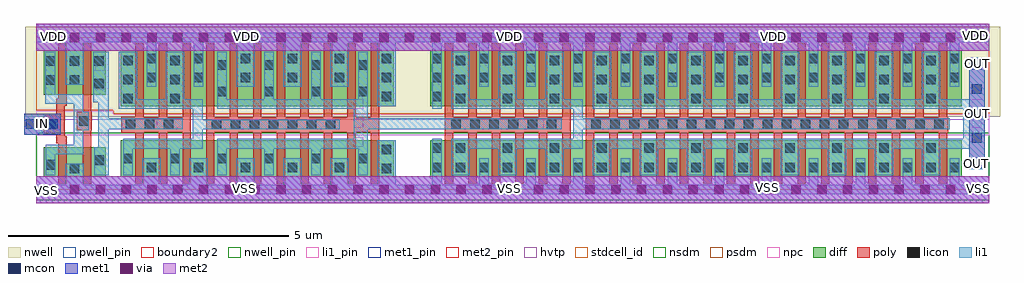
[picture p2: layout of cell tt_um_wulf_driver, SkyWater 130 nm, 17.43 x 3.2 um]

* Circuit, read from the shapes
.subckt tt_um_wulf_driver IN OUT VDD VNB VPB VSS
XM1 VSS IN n1 VNB sky130_fd_pr__nfet_01v8 w=0.52 l=0.15
XM2 sky130_fd_sc_hd__buf_8_0/A n1 VSS VNB sky130_fd_pr__nfet_01v8 w=0.52 l=0.15
XM3 VSS sky130_fd_sc_hd__buf_8_0/A n2 VNB sky130_fd_pr__nfet_01v8 w=0.65 l=0.15 m=3
XM4 sky130_fd_sc_hd__buf_16_2/A n2 VSS VNB sky130_fd_pr__nfet_01v8 w=0.65 l=0.15 m=8
XM5 n3 sky130_fd_sc_hd__buf_16_2/A VSS VNB sky130_fd_pr__nfet_01v8 w=0.65 l=0.15 m=6
XM6 OUT n3 VSS VNB sky130_fd_pr__nfet_01v8 w=0.65 l=0.15 m=16
XM7 VDD IN n1 VPB sky130_fd_pr__pfet_01v8_hvt w=0.79 l=0.15
XM8 sky130_fd_sc_hd__buf_8_0/A n1 VDD VPB sky130_fd_pr__pfet_01v8_hvt w=0.79 l=0.15
XM9 VDD sky130_fd_sc_hd__buf_8_0/A n2 VPB sky130_fd_pr__pfet_01v8_hvt w=1 l=0.15 m=3
XM10 sky130_fd_sc_hd__buf_16_2/A n2 VDD VPB sky130_fd_pr__pfet_01v8_hvt w=1 l=0.15 m=8
XM11 n3 sky130_fd_sc_hd__buf_16_2/A VDD VPB sky130_fd_pr__pfet_01v8_hvt w=1 l=0.15 m=6
XM12 OUT n3 VDD VPB sky130_fd_pr__pfet_01v8_hvt w=1 l=0.15 m=16
.ends

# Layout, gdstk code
import gdstk
lib = gdstk.Library(unit=1e-6, precision=1e-09)
def R(c, l, rs):  # rectangles x0, y0, x1, y1
    for r in rs: c.add(gdstk.rectangle(r[:2], r[2:], *l))
def A(c, l, x, y, w, h, nx, ny, dx, dy):  # array of equal rectangles
    R(c, l, [(x+i*dx, y+j*dy, x+i*dx+w, y+j*dy+h) for i in range(nx) for j in range(ny)])
def P(c, l, *ps):  # polygons
    for p in ps: c.add(gdstk.Polygon(p, *l))
nwell_pin = (64, 16)
nwell = (64, 20)
diff = (65, 20)
poly = (66, 20)
licon = (66, 44)
li1_pin = (67, 16)
li1 = (67, 20)
mcon = (67, 44)
met1_pin = (68, 16)
met1 = (68, 20)
via = (68, 44)
met2_pin = (69, 16)
met2 = (69, 20)
hvtp = (78, 44)
stdcell_id = (81, 4)
nsdm = (93, 44)
psdm = (94, 20)
npc = (95, 20)
pwell_pin = (122, 16)
boundary2 = (236, 0)

sky130_fd_sc_hd__buf_8 = lib.new_cell('sky130_fd_sc_hd__buf_8')
R(sky130_fd_sc_hd__buf_8, nwell_pin, [(0.15,2.635,0.32,2.805)])
R(sky130_fd_sc_hd__buf_8, nwell, [(-0.19,1.305,5.71,2.91)])
R(sky130_fd_sc_hd__buf_8, diff, [(0.135,0.235,5.005,0.885), (0.135,1.485,5.005,2.485)])
P(sky130_fd_sc_hd__buf_8, poly, [(0.395,0.105),(0.395,1.015),(0.14,1.015),(0.14,1.305),(0.395,1.305),(0.395,2.615),(0.545,2.615),(0.545,1.295),(0.815,1.295),(0.815,2.615),(0.965,2.615),(0.965,1.295),(1.235,1.295),(1.235,2.615),(1.385,2.615),(1.385,0.105),(1.235,0.105),(1.235,1.025),(0.965,1.025),(0.965,0.105),(0.815,0.105),(0.815,1.025),(0.545,1.025),(0.545,0.105)],
  [(1.655,0.105),(1.655,2.615),(1.805,2.615),(1.805,1.295),(2.075,1.295),(2.075,2.615),(2.225,2.615),(2.225,1.295),(2.495,1.295),(2.495,2.615),(2.645,2.615),(2.645,1.295),(2.915,1.295),(2.915,2.615),(3.065,2.615),(3.065,1.295),(3.335,1.295),(3.335,2.615),(3.485,2.615),(3.485,1.295),(3.755,1.295),(3.755,2.615),(3.905,2.615),(3.905,1.295),(4.175,1.295),(4.175,2.615),(4.325,2.615),(4.325,1.295),(4.595,1.295),(4.595,2.615),(4.745,2.615),(4.745,0.105),(4.595,0.105),(4.595,1.025),(4.325,1.025),(4.325,0.105),(4.175,0.105),(4.175,1.025),(3.905,1.025),(3.905,0.105),(3.755,0.105),(3.755,1.025),(3.485,1.025),(3.485,0.105),(3.335,0.105),(3.335,1.025),(3.065,1.025),(3.065,0.105),(2.915,0.105),(2.915,1.025),(2.645,1.025),(2.645,0.105),(2.495,0.105),(2.495,1.025),(2.225,1.025),(2.225,0.105),(2.075,0.105),(2.075,1.025),(1.805,1.025),(1.805,0.105)])
A(sky130_fd_sc_hd__buf_8, licon, 0.595, 0.315, 0.17, 0.17, 5, 1, 0.84, 0)
A(sky130_fd_sc_hd__buf_8, licon, 0.175, 0.475, 0.17, 0.17, 6, 1, 0.84, 0)
A(sky130_fd_sc_hd__buf_8, licon, 0.22, 1.075, 0.17, 0.17, 3, 1, 0.34, 0)
A(sky130_fd_sc_hd__buf_8, licon, 1.755, 1.075, 0.17, 0.17, 7, 1, 0.34, 0)
A(sky130_fd_sc_hd__buf_8, licon, 0.175, 1.545, 0.17, 0.17, 1, 3, 0, 0.34)
A(sky130_fd_sc_hd__buf_8, licon, 1.015, 1.545, 0.17, 0.17, 1, 3, 0, 0.34)
A(sky130_fd_sc_hd__buf_8, licon, 1.855, 1.67, 0.17, 0.17, 4, 2, 0.84, 0.475)
A(sky130_fd_sc_hd__buf_8, licon, 0.595, 1.915, 0.17, 0.17, 6, 2, 0.84, 0.34)
R(sky130_fd_sc_hd__buf_8, licon, [(4.795,0.295,4.965,0.465), (4.795,0.635,4.965,0.805), (4.795,1.575,4.965,1.745)])
A(sky130_fd_sc_hd__buf_8, li1_pin, 4.29, 0.765, 0.17, 0.17, 1, 3, 0, 0.34)
A(sky130_fd_sc_hd__buf_8, li1_pin, 0.15, 1.105, 0.17, 0.17, 3, 1, 0.46, 0)
R(sky130_fd_sc_hd__buf_8, li1_pin, [(0.15,-0.085,0.32,0.085), (0.15,2.635,0.32,2.805)])
R(sky130_fd_sc_hd__buf_8, li1, [(0.14,1.075,1.24,1.275)])
P(sky130_fd_sc_hd__buf_8, li1, [(0.175,0.255),(0.175,0.905),(1.42,0.905),(1.42,1.445),(0.095,1.445),(0.095,2.465),(0.425,2.465),(0.425,1.615),(0.935,1.615),(0.935,2.465),(1.265,2.465),(1.265,1.615),(1.595,1.615),(1.595,1.245),(4.045,1.245),(4.045,1.075),(1.595,1.075),(1.595,0.735),(1.185,0.735),(1.185,0.26),(1.015,0.26),(1.015,0.735),(0.345,0.735),(0.345,0.255)],
  [(0,-0.085),(0,0.085),(0.515,0.085),(0.515,0.565),(0.845,0.565),(0.845,0.085),(1.355,0.085),(1.355,0.565),(1.685,0.565),(1.685,0.085),(2.195,0.085),(2.195,0.565),(2.525,0.565),(2.525,0.085),(3.035,0.085),(3.035,0.565),(3.365,0.565),(3.365,0.085),(3.875,0.085),(3.875,0.565),(4.205,0.565),(4.205,0.085),(4.715,0.085),(4.715,0.885),(5.045,0.885),(5.045,0.085),(5.52,0.085),(5.52,-0.085)],
  [(4.715,1.485),(4.715,2.635),(4.205,2.635),(4.205,1.835),(3.875,1.835),(3.875,2.635),(3.365,2.635),(3.365,1.835),(3.035,1.835),(3.035,2.635),(2.525,2.635),(2.525,1.835),(2.195,1.835),(2.195,2.635),(1.605,2.635),(1.605,1.835),(1.435,1.835),(1.435,2.635),(0.765,2.635),(0.765,1.835),(0.595,1.835),(0.595,2.635),(0,2.635),(0,2.805),(5.52,2.805),(5.52,2.635),(5.045,2.635),(5.045,1.485)],
  [(1.855,0.255),(1.855,0.905),(4.29,0.905),(4.29,1.445),(1.855,1.445),(1.855,2.465),(2.025,2.465),(2.025,1.615),(2.695,1.615),(2.695,2.465),(2.865,2.465),(2.865,1.615),(3.535,1.615),(3.535,2.465),(3.705,2.465),(3.705,1.615),(4.375,1.615),(4.375,2.465),(4.545,2.465),(4.545,0.255),(4.375,0.255),(4.375,0.735),(3.705,0.735),(3.705,0.255),(3.535,0.255),(3.535,0.735),(2.865,0.735),(2.865,0.255),(2.695,0.255),(2.695,0.735),(2.025,0.735),(2.025,0.255)])
A(sky130_fd_sc_hd__buf_8, mcon, 0.145, -0.085, 0.17, 0.17, 12, 2, 0.46, 2.72)
R(sky130_fd_sc_hd__buf_8, met1_pin, [(0.15,-0.085,0.32,0.085), (0.15,2.635,0.32,2.805)])
R(sky130_fd_sc_hd__buf_8, hvtp, [(0,1.25,5.52,2.72)])
R(sky130_fd_sc_hd__buf_8, stdcell_id, [(0,0,5.52,2.72)])
R(sky130_fd_sc_hd__buf_8, nsdm, [(0,-0.19,5.52,1.015)])
R(sky130_fd_sc_hd__buf_8, psdm, [(0,1.355,5.52,2.91)])
R(sky130_fd_sc_hd__buf_8, npc, [(0,0.975,5.52,1.345)])
R(sky130_fd_sc_hd__buf_8, pwell_pin, [(0.15,-0.085,0.32,0.085)])
R(sky130_fd_sc_hd__buf_8, boundary2, [(0,0,5.52,2.72)])
sky130_fd_sc_hd__buf_8.add(gdstk.FlexPath([(0,2.72),(5.52,2.72)], 0.48, ends="flush", simple_path=True, layer=68, datatype=20))  # met1
sky130_fd_sc_hd__buf_8.add(gdstk.FlexPath([(0,0),(5.52,0)], 0.48, ends="flush", simple_path=True, layer=68, datatype=20))  # met1
sky130_fd_sc_hd__buf_8.add(gdstk.Label('A', (1.155,1.19), layer=67, texttype=5))
sky130_fd_sc_hd__buf_8.add(gdstk.Label('X', (4.375,0.85), layer=67, texttype=5))
sky130_fd_sc_hd__buf_8.add(gdstk.Label('X', (4.375,1.19), layer=67, texttype=5))
sky130_fd_sc_hd__buf_8.add(gdstk.Label('A', (0.695,1.19), layer=67, texttype=5))
sky130_fd_sc_hd__buf_8.add(gdstk.Label('VGND', (0.23,0), layer=67, texttype=5))
sky130_fd_sc_hd__buf_8.add(gdstk.Label('VPWR', (0.235,2.72), layer=67, texttype=5))
sky130_fd_sc_hd__buf_8.add(gdstk.Label('X', (4.375,1.53), layer=67, texttype=5))
sky130_fd_sc_hd__buf_8.add(gdstk.Label('A', (0.235,1.19), layer=67, texttype=5))
sky130_fd_sc_hd__buf_8.add(gdstk.Label('VNB', (0.235,0), layer=64, texttype=59))
sky130_fd_sc_hd__buf_8.add(gdstk.Label('VPB', (0.235,2.72), layer=64, texttype=5))
sky130_fd_sc_hd__buf_8.add(gdstk.Label('VGND', (0.23,0), layer=68, texttype=5))
sky130_fd_sc_hd__buf_8.add(gdstk.Label('VPWR', (0.235,2.72), layer=68, texttype=5))
sky130_fd_sc_hd__buf_8.add(gdstk.Label('buf_8', (0,0), layer=83, texttype=44))

sky130_fd_sc_hd__buf_1 = lib.new_cell('sky130_fd_sc_hd__buf_1')
R(sky130_fd_sc_hd__buf_1, nwell_pin, [(0.145,2.635,0.315,2.805)])
R(sky130_fd_sc_hd__buf_1, nwell, [(-0.19,1.305,1.57,2.91)])
R(sky130_fd_sc_hd__buf_1, diff, [(0.135,0.235,1.245,0.755), (0.135,1.695,1.245,2.485)])
P(sky130_fd_sc_hd__buf_1, poly, [(0.835,0.105),(0.835,1.06),(0.725,1.06),(0.725,1.39),(0.835,1.39),(0.835,2.615),(0.985,2.615),(0.985,1.39),(0.995,1.39),(0.995,1.06),(0.985,1.06),(0.985,0.105)],
  [(0.395,0.105),(0.395,0.83),(0.365,0.83),(0.365,0.995),(0.135,0.995),(0.135,1.325),(0.365,1.325),(0.365,1.62),(0.395,1.62),(0.395,2.615),(0.545,2.615),(0.545,1.5),(0.515,1.5),(0.515,0.95),(0.545,0.95),(0.545,0.105)])
A(sky130_fd_sc_hd__buf_1, licon, 0.175, 2.215, 0.17, 0.17, 3, 1, 0.43, 0)
R(sky130_fd_sc_hd__buf_1, licon, [(0.605,0.295,0.775,0.465), (0.175,0.36,0.345,0.53), (1.035,0.445,1.205,0.615), (0.185,1.075,0.355,1.245), (0.775,1.14,0.945,1.31), (1.035,1.81,1.205,1.98), (0.175,1.875,0.345,2.045), (0.605,1.875,0.775,2.045)])
R(sky130_fd_sc_hd__buf_1, li1_pin, [(0.155,-0.085,0.325,0.085), (1.055,0.425,1.225,0.595), (0.145,1.105,0.315,1.275), (1.055,1.785,1.225,1.955), (1.055,2.125,1.225,2.295), (0.145,2.635,0.315,2.805)])
R(sky130_fd_sc_hd__buf_1, li1, [(0.105,0.985,0.445,1.355)])
P(sky130_fd_sc_hd__buf_1, li1, [(1.035,0.255),(1.035,0.76),(1.115,0.76),(1.115,1.56),(1.025,1.56),(1.025,2.465),(1.295,2.465),(1.295,0.255)],
  [(0,-0.085),(0,0.085),(0.525,0.085),(0.525,0.465),(0.855,0.465),(0.855,0.085),(1.38,0.085),(1.38,-0.085)],
  [(0.175,0.255),(0.175,0.805),(0.67,0.805),(0.67,1.535),(0.165,1.535),(0.165,2.465),(0.345,2.465),(0.345,1.705),(0.84,1.705),(0.84,1.39),(0.945,1.39),(0.945,1.06),(0.84,1.06),(0.84,0.635),(0.345,0.635),(0.345,0.255)],
  [(0.525,1.875),(0.525,2.635),(0,2.635),(0,2.805),(1.38,2.805),(1.38,2.635),(0.855,2.635),(0.855,1.875)])
A(sky130_fd_sc_hd__buf_1, mcon, 0.145, -0.085, 0.17, 0.17, 3, 2, 0.46, 2.72)
R(sky130_fd_sc_hd__buf_1, met1_pin, [(0.155,-0.085,0.325,0.085), (0.145,2.635,0.315,2.805)])
R(sky130_fd_sc_hd__buf_1, hvtp, [(0,1.25,1.38,2.72)])
R(sky130_fd_sc_hd__buf_1, stdcell_id, [(0,0,1.38,2.72)])
R(sky130_fd_sc_hd__buf_1, nsdm, [(0,-0.19,1.38,1.015)])
R(sky130_fd_sc_hd__buf_1, psdm, [(0,1.42,1.38,2.91)])
R(sky130_fd_sc_hd__buf_1, npc, [(0,0.975,1.38,1.41)])
R(sky130_fd_sc_hd__buf_1, pwell_pin, [(0.155,-0.085,0.325,0.085)])
R(sky130_fd_sc_hd__buf_1, boundary2, [(0,0,1.38,2.72)])
sky130_fd_sc_hd__buf_1.add(gdstk.FlexPath([(0,0),(1.38,0)], 0.48, ends="flush", simple_path=True, layer=68, datatype=20))  # met1
sky130_fd_sc_hd__buf_1.add(gdstk.FlexPath([(0,2.72),(1.38,2.72)], 0.48, ends="flush", simple_path=True, layer=68, datatype=20))  # met1
sky130_fd_sc_hd__buf_1.add(gdstk.Label('VPWR', (0.23,2.72), layer=67, texttype=5))
sky130_fd_sc_hd__buf_1.add(gdstk.Label('VGND', (0.23,0), layer=67, texttype=5))
sky130_fd_sc_hd__buf_1.add(gdstk.Label('X', (1.14,0.51), layer=67, texttype=5))
sky130_fd_sc_hd__buf_1.add(gdstk.Label('X', (1.14,1.87), layer=67, texttype=5))
sky130_fd_sc_hd__buf_1.add(gdstk.Label('X', (1.14,2.21), layer=67, texttype=5))
sky130_fd_sc_hd__buf_1.add(gdstk.Label('A', (0.23,1.19), layer=67, texttype=5))
sky130_fd_sc_hd__buf_1.add(gdstk.Label('VNB', (0.23,0), layer=64, texttype=59))
sky130_fd_sc_hd__buf_1.add(gdstk.Label('VPB', (0.23,2.72), layer=64, texttype=5))
sky130_fd_sc_hd__buf_1.add(gdstk.Label('VGND', (0.23,0), layer=68, texttype=5))
sky130_fd_sc_hd__buf_1.add(gdstk.Label('VPWR', (0.23,2.72), layer=68, texttype=5))
sky130_fd_sc_hd__buf_1.add(gdstk.Label('buf_1', (0,0), layer=83, texttype=44))

sky130_fd_sc_hd__buf_16 = lib.new_cell('sky130_fd_sc_hd__buf_16')
R(sky130_fd_sc_hd__buf_16, nwell_pin, [(0.15,2.635,0.32,2.805)])
R(sky130_fd_sc_hd__buf_16, nwell, [(-0.19,1.305,10.31,2.91)])
R(sky130_fd_sc_hd__buf_16, diff, [(0.135,0.235,9.625,0.885), (0.135,1.485,9.625,2.485)])
P(sky130_fd_sc_hd__buf_16, poly, [(0.395,0.105),(0.395,2.615),(0.545,2.615),(0.545,1.295),(0.815,1.295),(0.815,2.615),(0.965,2.615),(0.965,1.295),(1.235,1.295),(1.235,2.615),(1.385,2.615),(1.385,1.295),(1.655,1.295),(1.655,2.615),(1.805,2.615),(1.805,1.295),(2.075,1.295),(2.075,2.615),(2.225,2.615),(2.225,1.295),(2.495,1.295),(2.495,2.615),(2.645,2.615),(2.645,0.105),(2.495,0.105),(2.495,1.025),(2.225,1.025),(2.225,0.105),(2.075,0.105),(2.075,1.025),(1.805,1.025),(1.805,0.105),(1.655,0.105),(1.655,1.025),(1.385,1.025),(1.385,0.105),(1.235,0.105),(1.235,1.025),(0.965,1.025),(0.965,0.105),(0.815,0.105),(0.815,1.025),(0.545,1.025),(0.545,0.105)],
  [(2.915,0.105),(2.915,2.615),(3.065,2.615),(3.065,1.295),(3.335,1.295),(3.335,2.615),(3.485,2.615),(3.485,1.295),(3.755,1.295),(3.755,2.615),(3.905,2.615),(3.905,1.295),(4.175,1.295),(4.175,2.615),(4.325,2.615),(4.325,1.295),(4.595,1.295),(4.595,2.615),(4.745,2.615),(4.745,1.295),(5.015,1.295),(5.015,2.615),(5.165,2.615),(5.165,1.295),(5.435,1.295),(5.435,2.615),(5.585,2.615),(5.585,1.295),(5.855,1.295),(5.855,2.615),(6.005,2.615),(6.005,1.295),(6.275,1.295),(6.275,2.615),(6.425,2.615),(6.425,1.295),(6.695,1.295),(6.695,2.615),(6.845,2.615),(6.845,1.295),(7.115,1.295),(7.115,2.615),(7.265,2.615),(7.265,1.295),(7.535,1.295),(7.535,2.615),(7.685,2.615),(7.685,1.295),(7.955,1.295),(7.955,2.615),(8.105,2.615),(8.105,1.295),(8.375,1.295),(8.375,2.615),(8.525,2.615),(8.525,1.295),(8.795,1.295),(8.795,2.615),(8.945,2.615),(8.945,1.295),(9.215,1.295),(9.215,2.615),(9.365,2.615),(9.365,1.295),(9.385,1.295),(9.385,1.025),(9.365,1.025),(9.365,0.105),(9.215,0.105),(9.215,1.025),(8.945,1.025),(8.945,0.105),(8.795,0.105),(8.795,1.025),(8.525,1.025),(8.525,0.105),(8.375,0.105),(8.375,1.025),(8.105,1.025),(8.105,0.105),(7.955,0.105),(7.955,1.025),(7.685,1.025),(7.685,0.105),(7.535,0.105),(7.535,1.025),(7.265,1.025),(7.265,0.105),(7.115,0.105),(7.115,1.025),(6.845,1.025),(6.845,0.105),(6.695,0.105),(6.695,1.025),(6.425,1.025),(6.425,0.105),(6.275,0.105),(6.275,1.025),(6.005,1.025),(6.005,0.105),(5.855,0.105),(5.855,1.025),(5.585,1.025),(5.585,0.105),(5.435,0.105),(5.435,1.025),(5.165,1.025),(5.165,0.105),(5.015,0.105),(5.015,1.025),(4.745,1.025),(4.745,0.105),(4.595,0.105),(4.595,1.025),(4.325,1.025),(4.325,0.105),(4.175,0.105),(4.175,1.025),(3.905,1.025),(3.905,0.105),(3.755,0.105),(3.755,1.025),(3.485,1.025),(3.485,0.105),(3.335,0.105),(3.335,1.025),(3.065,1.025),(3.065,0.105)])
A(sky130_fd_sc_hd__buf_16, licon, 0.175, 0.315, 0.17, 0.17, 23, 1, 0.42, 0)
A(sky130_fd_sc_hd__buf_16, licon, 0.595, 0.655, 0.17, 0.17, 11, 2, 0.84, 0.89)
A(sky130_fd_sc_hd__buf_16, licon, 0.515, 1.075, 0.17, 0.17, 6, 1, 0.34, 0)
A(sky130_fd_sc_hd__buf_16, licon, 3.015, 1.075, 0.17, 0.17, 19, 1, 0.34, 0)
A(sky130_fd_sc_hd__buf_16, licon, 0.595, 1.885, 0.17, 0.17, 11, 2, 0.84, 0.34)
A(sky130_fd_sc_hd__buf_16, licon, 0.175, 1.915, 0.17, 0.17, 12, 2, 0.84, 0.34)
R(sky130_fd_sc_hd__buf_16, licon, [(0.175,0.655,0.345,0.825), (0.175,1.575,0.345,1.745)])
R(sky130_fd_sc_hd__buf_16, li1_pin, [(1.53,1.105,1.7,1.275), (1.99,1.105,2.16,1.275), (9.805,1.105,9.975,1.275), (9.805,1.445,9.975,1.615)])
R(sky130_fd_sc_hd__buf_16, li1, [(0.085,1.075,2.485,1.275)])
P(sky130_fd_sc_hd__buf_16, li1, [(0,-0.085),(0,0.085),(0.175,0.085),(0.175,0.905),(0.345,0.905),(0.345,0.085),(1.015,0.085),(1.015,0.565),(1.185,0.565),(1.185,0.085),(1.855,0.085),(1.855,0.565),(2.025,0.565),(2.025,0.085),(2.695,0.085),(2.695,0.565),(2.865,0.565),(2.865,0.085),(3.535,0.085),(3.535,0.565),(3.705,0.565),(3.705,0.085),(4.375,0.085),(4.375,0.565),(4.545,0.565),(4.545,0.085),(5.215,0.085),(5.215,0.565),(5.385,0.565),(5.385,0.085),(6.055,0.085),(6.055,0.565),(6.225,0.565),(6.225,0.085),(6.895,0.085),(6.895,0.565),(7.065,0.565),(7.065,0.085),(7.735,0.085),(7.735,0.565),(7.905,0.565),(7.905,0.085),(8.575,0.085),(8.575,0.565),(8.745,0.565),(8.745,0.085),(9.415,0.085),(9.415,0.565),(9.585,0.565),(9.585,0.085),(10.12,0.085),(10.12,-0.085)],
  [(0.175,1.445),(0.175,2.635),(0,2.635),(0,2.805),(10.12,2.805),(10.12,2.635),(9.585,2.635),(9.585,1.835),(9.415,1.835),(9.415,2.635),(8.745,2.635),(8.745,1.835),(8.575,1.835),(8.575,2.635),(7.905,2.635),(7.905,1.835),(7.735,1.835),(7.735,2.635),(7.065,2.635),(7.065,1.835),(6.895,1.835),(6.895,2.635),(6.225,2.635),(6.225,1.835),(6.055,1.835),(6.055,2.635),(5.385,2.635),(5.385,1.835),(5.215,1.835),(5.215,2.635),(4.545,2.635),(4.545,1.835),(4.375,1.835),(4.375,2.635),(3.705,2.635),(3.705,1.835),(3.535,1.835),(3.535,2.635),(2.865,2.635),(2.865,1.835),(2.695,1.835),(2.695,2.635),(2.025,2.635),(2.025,1.835),(1.855,1.835),(1.855,2.635),(1.185,2.635),(1.185,1.835),(1.015,1.835),(1.015,2.635),(0.345,2.635),(0.345,1.445)],
  [(0.515,0.26),(0.515,0.905),(2.69,0.905),(2.69,1.445),(0.515,1.445),(0.515,2.465),(0.845,2.465),(0.845,1.615),(1.355,1.615),(1.355,2.465),(1.685,2.465),(1.685,1.615),(2.195,1.615),(2.195,2.465),(2.525,2.465),(2.525,1.615),(2.865,1.615),(2.865,1.275),(9.41,1.275),(9.41,1.075),(2.865,1.075),(2.865,0.735),(2.525,0.735),(2.525,0.26),(2.195,0.26),(2.195,0.735),(1.685,0.735),(1.685,0.26),(1.355,0.26),(1.355,0.735),(0.845,0.735),(0.845,0.26)],
  [(3.035,0.255),(3.035,0.905),(9.655,0.905),(9.655,1.445),(3.035,1.445),(3.035,2.465),(3.365,2.465),(3.365,1.615),(3.875,1.615),(3.875,2.465),(4.205,2.465),(4.205,1.615),(4.715,1.615),(4.715,2.465),(5.045,2.465),(5.045,1.615),(5.555,1.615),(5.555,2.465),(5.885,2.465),(5.885,1.615),(6.395,1.615),(6.395,2.465),(6.725,2.465),(6.725,1.615),(7.235,1.615),(7.235,2.465),(7.565,2.465),(7.565,1.615),(8.075,1.615),(8.075,2.465),(8.405,2.465),(8.405,1.615),(8.915,1.615),(8.915,2.465),(9.245,2.465),(9.245,1.615),(9.76,1.615),(9.76,2.36),(10.035,2.36),(10.035,0.365),(9.76,0.365),(9.76,0.735),(9.245,0.735),(9.245,0.26),(8.915,0.26),(8.915,0.735),(8.405,0.735),(8.405,0.26),(8.075,0.26),(8.075,0.735),(7.565,0.735),(7.565,0.26),(7.235,0.26),(7.235,0.735),(6.725,0.735),(6.725,0.26),(6.395,0.26),(6.395,0.735),(5.885,0.735),(5.885,0.26),(5.555,0.26),(5.555,0.735),(5.045,0.735),(5.045,0.26),(4.965,0.26),(4.965,0.255),(4.795,0.255),(4.795,0.26),(4.715,0.26),(4.715,0.735),(4.205,0.735),(4.205,0.26),(4.125,0.26),(4.125,0.255),(3.955,0.255),(3.955,0.26),(3.875,0.26),(3.875,0.735),(3.365,0.735),(3.365,0.26),(3.285,0.26),(3.285,0.255)])
A(sky130_fd_sc_hd__buf_16, mcon, 0.145, -0.085, 0.17, 0.17, 22, 2, 0.46, 2.72)
R(sky130_fd_sc_hd__buf_16, met1_pin, [(0.15,-0.085,0.32,0.085), (0.15,2.635,0.32,2.805)])
R(sky130_fd_sc_hd__buf_16, hvtp, [(0,1.25,10.12,2.72)])
R(sky130_fd_sc_hd__buf_16, stdcell_id, [(0,0,10.12,2.72)])
R(sky130_fd_sc_hd__buf_16, nsdm, [(0,-0.19,10.12,1.015)])
R(sky130_fd_sc_hd__buf_16, psdm, [(0,1.355,10.12,2.91)])
R(sky130_fd_sc_hd__buf_16, npc, [(0,0.975,10.12,1.345)])
R(sky130_fd_sc_hd__buf_16, pwell_pin, [(0.15,-0.085,0.32,0.085)])
R(sky130_fd_sc_hd__buf_16, boundary2, [(0,0,10.12,2.72)])
sky130_fd_sc_hd__buf_16.add(gdstk.FlexPath([(0,0),(10.12,0)], 0.48, ends="flush", simple_path=True, layer=68, datatype=20))  # met1
sky130_fd_sc_hd__buf_16.add(gdstk.FlexPath([(0,2.72),(10.12,2.72)], 0.48, ends="flush", simple_path=True, layer=68, datatype=20))  # met1
sky130_fd_sc_hd__buf_16.add(gdstk.Label('A', (2.075,1.19), layer=67, texttype=5))
sky130_fd_sc_hd__buf_16.add(gdstk.Label('A', (1.615,1.19), layer=67, texttype=5))
sky130_fd_sc_hd__buf_16.add(gdstk.Label('X', (9.89,1.19), layer=67, texttype=5))
sky130_fd_sc_hd__buf_16.add(gdstk.Label('X', (9.89,1.53), layer=67, texttype=5))
sky130_fd_sc_hd__buf_16.add(gdstk.Label('VNB', (0.235,0), layer=64, texttype=59))
sky130_fd_sc_hd__buf_16.add(gdstk.Label('VPB', (0.235,2.72), layer=64, texttype=5))
sky130_fd_sc_hd__buf_16.add(gdstk.Label('VGND', (0.23,0), layer=68, texttype=5))
sky130_fd_sc_hd__buf_16.add(gdstk.Label('VPWR', (0.23,2.72), layer=68, texttype=5))
sky130_fd_sc_hd__buf_16.add(gdstk.Label('buf_16', (0,0), layer=83, texttype=44))

tt_um_wulf_driver = lib.new_cell('tt_um_wulf_driver')
R(tt_um_wulf_driver, li1, [(0,1.225,0.32,1.595), (1.51,1.315,1.735,1.515), (6.14,1.315,7.2,1.515)])
A(tt_um_wulf_driver, mcon, 16.925, 1.08, 0.17, 0.17, 1, 3, 0, 0.435)
R(tt_um_wulf_driver, mcon, [(16.925,0.65,17.095,0.82), (0.035,1.33,0.205,1.5), (0.43,1.33,0.6,1.5), (16.925,2.38,17.095,2.55)])
R(tt_um_wulf_driver, met1_pin, [(16.875,0.63,17.15,2.575), (0,1.225,0.66,1.595)])
R(tt_um_wulf_driver, met1, [(16.875,0.62,17.15,2.58), (0,1.225,0.66,1.595)])
A(tt_um_wulf_driver, via, 0.37, 0.165, 0.15, 0.15, 37, 2, 0.46, 2.72)
R(tt_um_wulf_driver, met2_pin, [(0.215,0,17.235,0.48), (0.215,2.72,17.235,3.2)])
R(tt_um_wulf_driver, met2, [(0.215,0,17.235,0.48), (0.215,2.72,17.235,3.2)])
tt_um_wulf_driver.add(gdstk.Reference(sky130_fd_sc_hd__buf_8, (1.595,0.24)))
tt_um_wulf_driver.add(gdstk.Reference(sky130_fd_sc_hd__buf_1, (0.215,0.24)))
tt_um_wulf_driver.add(gdstk.Reference(sky130_fd_sc_hd__buf_16, (7.115,0.24)))
tt_um_wulf_driver.add(gdstk.Label('IN', (0.322,1.429), layer=68, texttype=5))
tt_um_wulf_driver.add(gdstk.Label('OUT', (17.015,1.6), layer=68, texttype=5))
tt_um_wulf_driver.add(gdstk.Label('OUT', (17.011,0.712), layer=68, texttype=5))
tt_um_wulf_driver.add(gdstk.Label('OUT', (17.021,2.492), layer=68, texttype=5))
tt_um_wulf_driver.add(gdstk.Label('VSS', (0.402,0.233), layer=69, texttype=5))
tt_um_wulf_driver.add(gdstk.Label('VSS', (17.044,0.254), layer=69, texttype=5))
tt_um_wulf_driver.add(gdstk.Label('VSS', (8.674,0.265), layer=69, texttype=5))
tt_um_wulf_driver.add(gdstk.Label('VSS', (3.938,0.254), layer=69, texttype=5))
tt_um_wulf_driver.add(gdstk.Label('VSS', (13.279,0.287), layer=69, texttype=5))
tt_um_wulf_driver.add(gdstk.Label('VDD', (0.522,2.972), layer=69, texttype=5))
tt_um_wulf_driver.add(gdstk.Label('VDD', (16.979,2.994), layer=69, texttype=5))
tt_um_wulf_driver.add(gdstk.Label('VDD', (8.663,2.983), layer=69, texttype=5))
tt_um_wulf_driver.add(gdstk.Label('VDD', (3.981,2.972), layer=69, texttype=5))
tt_um_wulf_driver.add(gdstk.Label('VDD', (13.377,2.983), layer=69, texttype=5))

lib.write_gds('tt_um_wulf_driver.gds')
